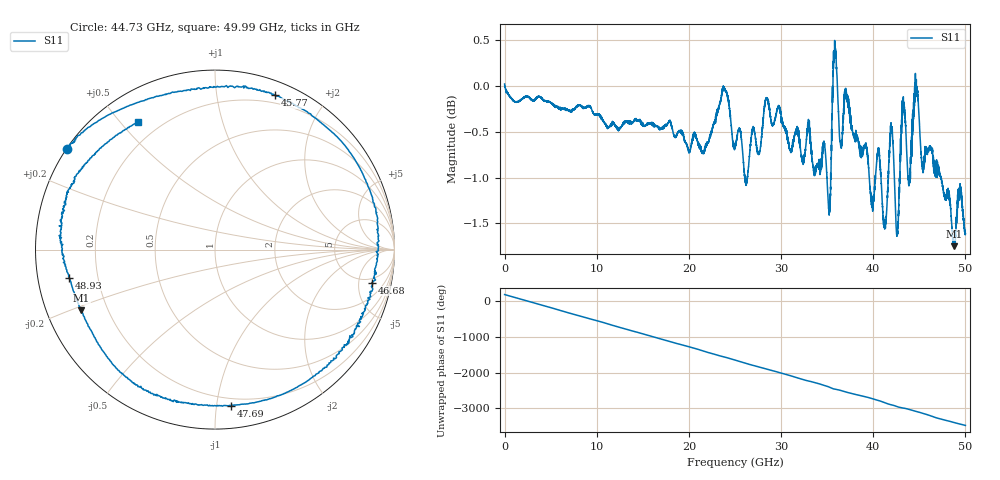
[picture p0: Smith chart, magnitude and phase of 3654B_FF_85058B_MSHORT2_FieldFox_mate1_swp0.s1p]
!Created with skrf (http://scikit-rf.org).
# Hz S RI R 50.0
!freq ReS11 ImS11
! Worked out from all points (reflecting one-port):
!   10000 points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, 5.3 MHz to 50 GHz, reference 50 ohm
!   lowest |S11| = -1.7 dB at 48.75 GHz (marker M1), VSWR 9.98, Z = 5.24 - j10.7 ohm
!   phase of S11 starts at 180 deg and turns -3659 deg over the sweep
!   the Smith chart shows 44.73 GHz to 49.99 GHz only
!   S11 on the Smith chart (normalised r, x): 44.73 GHz: 0.00, +0.31; 45.77 GHz: 0.12, +1.46; 46.68 GHz: 4.06, -7.39; 47.69 GHz: 0.15, -1.10; 48.93 GHz: 0.10, -0.09; 49.99 GHz: 0.12, +0.56
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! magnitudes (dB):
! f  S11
! 5.3 MHz  0.0
! 6.255 GHz  -0.2
! 12.51 GHz  -0.5
! 18.76 GHz  -0.5
! 23.85 GHz  0.0
! 25.01 GHz  -0.6
! 26.24 GHz  -1.1
! 28.45 GHz  -0.1
! 31.26 GHz  -0.6
! 35.18 GHz  -1.3
! 35.83 GHz  0.4
! 36.46 GHz  -0.6
! 37.51 GHz  -0.4
! 39.88 GHz  -1.2
! 40.6 GHz  -0.7
! 41.23 GHz  -1.5
! 41.95 GHz  -0.4
! 42.58 GHz  -1.6
! 43.23 GHz  -0.2
! 43.76 GHz  -1.0
! 44.73 GHz  0.0
! 45.77 GHz  -0.7
! 46.68 GHz  -1.0
! 47.69 GHz  -1.2
! 48.75 GHz  -1.7
! 48.93 GHz  -1.6
! 49.99 GHz  -1.6
! 50 GHz  -1.6
